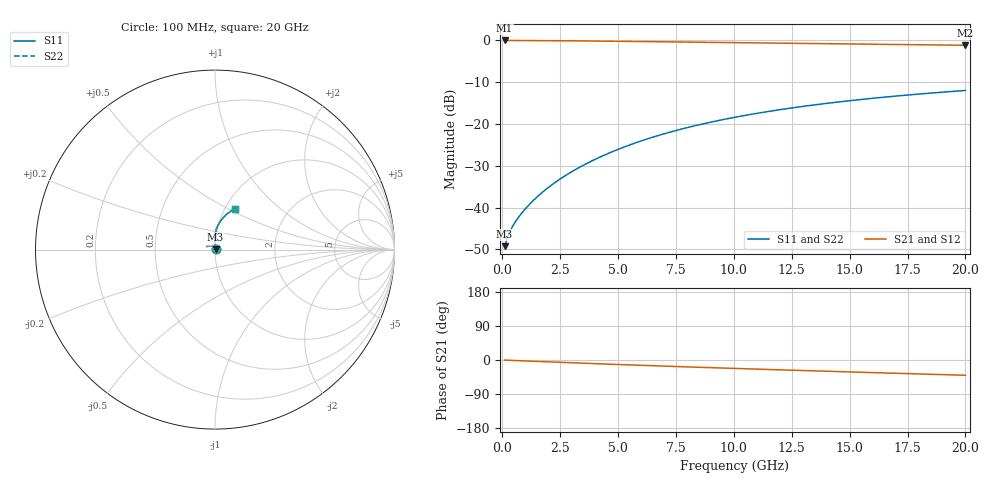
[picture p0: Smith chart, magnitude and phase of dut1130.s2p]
! Touchstone file exported from HFSS 2024.1.0
!  File:  C:/UserFiles/LocalFiles/RDL_TSV_Batchsim/temp_RDL_bottom_1130_1780055210.aedt
!  Generated:  07:49:07 PM May 29, 2026
!  Design:  RDL_bottom
!  Project:  temp_RDL_bottom_1130_1780055210
!  Setup:  Setup1
!  Solution:  Sweep
! Variables:
!  dtsv = 10.80580581um
!  hbump = 3um
!  htsv = 65.73um
!  ldown = 661.2um
!  lrdl = 100um
!  p = 40
!  p1 = 41.49um
!  rhole = 1um
!  t = 450um
!  tdown = 2.87um
!  trdl = 3.915915916um
!  wdown = 27.85um
!  wrdl = 20um
# GHz S MA R 50.000000
! Terminal data exported
! Port[1] = RDL1_T1
! Port[2] = RDL1_T2
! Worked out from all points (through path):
!   200 points, 100 MHz to 20 GHz, reference 50 ohm
!   highest |S21| = -0.03 dB at 100 MHz (marker M1); lowest = -1.2 dB at 20 GHz (marker M2)
!   group delay of S21, straight-line fit = 5.52 ps
!   lowest |S11| = -49.2 dB at 100 MHz (marker M3), VSWR 1.01, Z = 50.3 + j0.121 ohm
!   |S11| at or under -10 dB: start of sweep to end of sweep
!   |S22| runs from -49.2 to -12.0 dB; largest |S21 - S12| = 2.6e-15
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0.1  0.003462 20.3  0.9967 -0.3  0.9967 -0.3  0.003462 20.3
! Gamma 0 0 0 0
! Port Impedance 50 0 50 0
0.3  0.004926 41.1  0.9962 -0.8  0.9962 -0.8  0.004926 41.1
0.4  0.005661 46.3  0.9958 -1.0  0.9958 -1.0  0.005661 46.3
0.5  0.006352 50.3  0.9956 -1.3  0.9956 -1.3  0.006352 50.3
0.6  0.007019 53.8  0.9953 -1.5  0.9953 -1.5  0.007019 53.8
0.8  0.008342 59.8  0.9948 -2.0  0.9948 -2.0  0.008342 59.8
1.2  0.01114 68.9  0.9938 -3.0  0.9938 -3.0  0.01114 68.9
1.7  0.01501 76.7  0.9924 -4.2  0.9924 -4.2  0.01501 76.7
2.2  0.01928 81.9  0.9905 -5.4  0.9905 -5.4  0.01928 81.9
2.8  0.0249 86.1  0.9878 -6.8  0.9878 -6.8  0.02491 86.1
3.5  0.03213 89.2  0.984 -8.5  0.984 -8.5  0.03213 89.2
4.2  0.04001 90.9  0.9797 -10.1  0.9797 -10.1  0.04002 91.0
5  0.04973 91.8  0.9743 -11.9  0.9743 -11.9  0.04975 91.8
5.9  0.06142 91.8  0.9679 -13.9  0.9679 -13.9  0.06145 91.8
6.8  0.07371 91.0  0.9612 -15.8  0.9612 -15.8  0.07374 91.1
8.4  0.09646 88.6  0.9493 -19.0  0.9493 -19.0  0.09651 88.7
10.1  0.1211 85.3  0.9368 -22.4  0.9368 -22.4  0.1212 85.3
11.7  0.1442 81.8  0.9255 -25.4  0.9255 -25.4  0.1443 81.9
13.4  0.1681 78.1  0.9139 -28.6  0.9139 -28.6  0.1682 78.1
15  0.1898 74.5  0.9034 -31.5  0.9034 -31.5  0.1899 74.6
16.7  0.2119 70.9  0.8926 -34.5  0.8926 -34.5  0.2121 70.9
20  0.2516 64.0  0.8726 -40.3  0.8726 -40.3  0.2518 64.1
